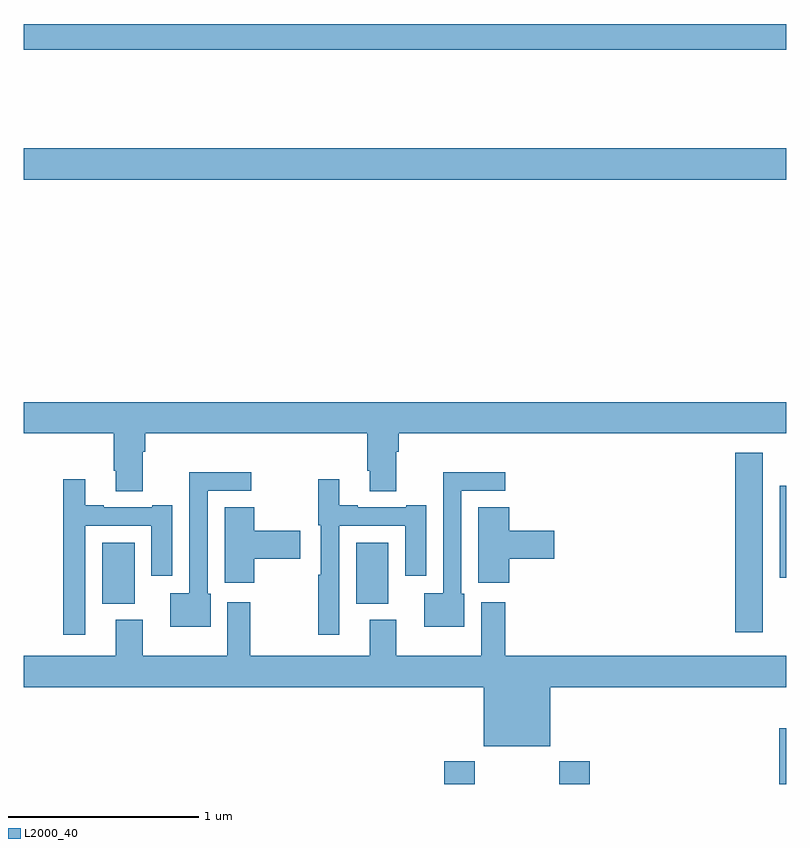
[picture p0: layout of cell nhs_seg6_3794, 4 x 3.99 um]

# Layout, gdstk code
import gdstk
lib = gdstk.Library(unit=1e-6, precision=1e-09)
def R(c, l, rs):  # rectangles x0, y0, x1, y1
    for r in rs: c.add(gdstk.rectangle(r[:2], r[2:], *l))
def P(c, l, *ps):  # polygons
    for p in ps: c.add(gdstk.Polygon(p, *l))
L2000_40 = (2000, 40)

nhs_seg6_3794 = lib.new_cell('nhs_seg6_3794')
R(nhs_seg6_3794, L2000_40, [(337.205,941.5,337.365,941.62), (337.81,941.5,337.97,941.62), (338.964,941.5,339,941.792), (338.732,942.297,338.878,943.237), (335.411,942.446,335.581,942.766), (336.743,942.446,336.913,942.766), (338.967,942.582,339,943.065), (335,944.672,339,944.836), (335,945.352,339,945.488)])
P(nhs_seg6_3794, L2000_40, [(335.623,943.244),(335.636,943.244),(335.636,943.34),(336.803,943.34),(336.803,943.144),(336.815,943.144),(336.815,943.036),(336.955,943.036),(336.955,943.244),(336.968,943.244),(336.968,943.34),(339,943.34),(339,943.504),(335,943.504),(335,943.34),(335.471,943.34),(335.471,943.144),(335.483,943.144),(335.483,943.036),(335.623,943.036)],
  [(335.98,942.498),(335.964,942.498),(335.964,943.038),(336.193,943.038),(336.193,943.136),(335.868,943.136),(335.868,942.502),(335.768,942.502),(335.768,942.326),(335.98,942.326)],
  [(337.312,942.498),(337.296,942.498),(337.296,943.038),(337.525,943.038),(337.525,943.136),(337.2,943.136),(337.2,942.502),(337.1,942.502),(337.1,942.326),(337.312,942.326)],
  [(336.654,942.855),(337.001,942.855),(337.001,942.594),(337.111,942.594),(337.111,942.964),(337.007,942.964),(337.007,942.951),(336.751,942.951),(336.751,942.964),(336.655,942.964),(336.655,943.099),(336.546,943.099),(336.546,942.858),(336.558,942.858),(336.558,942.599),(336.546,942.599),(336.546,942.282),(336.654,942.282)],
  [(335.322,942.855),(335.669,942.855),(335.669,942.594),(335.779,942.594),(335.779,942.964),(335.675,942.964),(335.675,942.951),(335.419,942.951),(335.419,942.964),(335.323,942.964),(335.323,943.099),(335.206,943.099),(335.206,942.282),(335.322,942.282)],
  [(337.547,942.683),(337.783,942.683),(337.783,942.83),(337.547,942.83),(337.547,942.953),(337.385,942.953),(337.385,942.555),(337.547,942.555)],
  [(336.21,942.683),(336.451,942.683),(336.451,942.83),(336.21,942.83),(336.21,942.953),(336.053,942.953),(336.053,942.555),(336.21,942.555)],
  [(337.762,942.008),(339,942.008),(339,942.172),(337.526,942.172),(337.526,942.454),(337.4,942.454),(337.4,942.172),(336.955,942.172),(336.955,942.361),(336.815,942.361),(336.815,942.172),(336.189,942.172),(336.189,942.454),(336.068,942.454),(336.068,942.172),(335.623,942.172),(335.623,942.361),(335.483,942.361),(335.483,942.172),(335,942.172),(335,942.008),(337.412,942.008),(337.412,941.699),(337.762,941.699)])

lib.write_gds('nhs_seg6_3794.gds')
